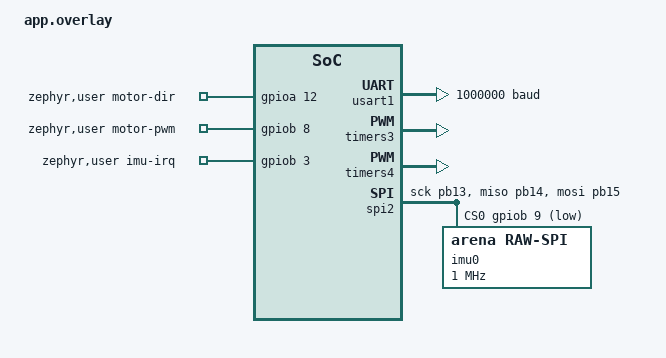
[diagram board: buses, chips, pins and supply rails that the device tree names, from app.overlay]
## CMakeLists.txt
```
cmake_minimum_required(VERSION 3.20.0)
find_package(Zephyr REQUIRED HINTS $ENV{ZEPHYR_BASE})
project(arena_uno_q LANGUAGES C CXX)
if(NOT ARENA_PROFILE_HEADER OR NOT ST_DRIVER_DIR)
  message(FATAL_ERROR "Explicit generated profile and pinned ST driver are required")
endif()
target_sources(app PRIVATE src/main.cpp src/hal.cpp src/imu.cpp "${ST_DRIVER_DIR}/lsm6dsox_reg.c")
target_include_directories(app PRIVATE include ../portable ../firmware_runtime_preview/main "${ST_DRIVER_DIR}")
target_compile_options(app PRIVATE $<$<COMPILE_LANGUAGE:CXX>:-std=c++17>)
target_compile_definitions(app PRIVATE ARENA_PROFILE_HEADER="${ARENA_PROFILE_HEADER}")
```

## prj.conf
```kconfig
CONFIG_CPP=y
CONFIG_STD_CPP17=y
CONFIG_GLIBCXX_LIBCPP=y
CONFIG_PICOLIBC=y
CONFIG_FPU=y
CONFIG_MAIN_STACK_SIZE=32768
CONFIG_SYSTEM_WORKQUEUE_STACK_SIZE=2048
CONFIG_HEAP_MEM_POOL_SIZE=8192
CONFIG_MAIN_THREAD_PRIORITY=3
CONFIG_SERIAL=y
CONFIG_UART_INTERRUPT_DRIVEN=y
CONFIG_UART_USE_RUNTIME_CONFIGURE=y
CONFIG_CONSOLE=n
CONFIG_UART_CONSOLE=n
CONFIG_PRINTK=n
CONFIG_BOOT_BANNER=n
CONFIG_LOG=n
CONFIG_GPIO=y
CONFIG_PINCTRL=y
CONFIG_PWM=y
CONFIG_SPI=y
CONFIG_SPI_STM32_INTERRUPT=y
CONFIG_SENSOR=y
CONFIG_QDEC_STM32=y
CONFIG_ENTROPY_GENERATOR=y
CONFIG_WATCHDOG=y
CONFIG_TEST_RANDOM_GENERATOR=n
CONFIG_FLASH=y
CONFIG_FLASH_LOAD_OFFSET=0
CONFIG_BOOTLOADER_MCUBOOT=n
CONFIG_BUILD_OUTPUT_BIN=y
CONFIG_BUILD_OUTPUT_HEX=y
CONFIG_SYS_CLOCK_TICKS_PER_SEC=10000
CONFIG_TIMESLICING=n
CONFIG_PM=n
CONFIG_ASSERT=y
```

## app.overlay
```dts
/* uno_q_v1.json: 3.3 V direct USART, TIM3 x4, TIM4 20 kHz, SPI2. */
/ {
  chosen {
    /delete-property/ zephyr,console;
    /delete-property/ zephyr,shell-uart;
    /delete-property/ zephyr,code-partition;
    /delete-property/ zephyr,canbus;
  };
  zephyr,user {
    motor-dir-gpios = <&gpioa 12 GPIO_ACTIVE_HIGH>;
    motor-pwm-gpios = <&gpiob 8 GPIO_ACTIVE_HIGH>;
    imu-irq-gpios = <&gpiob 3 GPIO_ACTIVE_HIGH>;
  };
};
&usart1_rx_pb7 { /delete-property/ bias-pull-up; bias-disable; };
&flash0 { /delete-node/ partitions; };
&usart1_tx_pb6 { bias-disable; };
&usart1 { status = "okay"; current-speed = <1000000>; };
&lpuart1 { status = "disabled"; };
&spi3 { status = "disabled"; };
&i2c2 { status = "disabled"; };
&i2c4 { status = "disabled"; };
&adc1 { status = "disabled"; };
&adc4 { status = "disabled"; };
&dac1 { status = "disabled"; };
&fdcan1 { status = "disabled"; };
&usbotg_fs { status = "disabled"; };
&die_temp { status = "disabled"; };
&vref1 { status = "disabled"; };
&vbat4 { status = "disabled"; };
&timers3 {
  status = "okay";
  st,prescaler = <0>;
  pwm { status = "disabled"; };
  qdec3: qdec {
    compatible = "st,stm32-qdec";
    status = "okay";
    pinctrl-0 = <&tim3_ch1_pa6 &tim3_ch2_pa7>;
    pinctrl-names = "default";
    st,encoder-mode = <3>;
    st,input-filter-level = <3>;
    st,counts-per-revolution = <28>;
  };
};
&tim3_ch1_pa6 { bias-disable; };
&tim3_ch2_pa7 { bias-disable; };
&timers4 {
  status = "okay";
  st,prescaler = <0>;
  pwm4: pwm {
    status = "okay";
    pinctrl-0 = <&tim4_ch3_pb8>;
    pinctrl-names = "default";
  };
};
&spi2 {
  status = "okay";
  pinctrl-0 = <&spi2_sck_pb13 &spi2_miso_pb14 &spi2_mosi_pb15>;
  pinctrl-names = "default";
  cs-gpios = <&gpiob 9 GPIO_ACTIVE_LOW>;
  imu0: imu@0 {
    compatible = "arena,raw-spi";
    reg = <0>;
    spi-max-frequency = <1000000>;
  };
};
```

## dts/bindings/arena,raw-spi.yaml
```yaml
description: LSM6DSOX register interface owned by the bounded acquisition thread
compatible: "arena,raw-spi"
include: spi-device.yaml
```

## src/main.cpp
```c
#include "hal.hpp"
#include "profile.hpp"
#include "endpoint.hpp"
#include "external_servo.hpp"
#include "bench.hpp"
#include "encoder.hpp"
#include "runtime_tx.hpp"
#include "md20a_forward_output.hpp"
#include ARENA_PROFILE_HEADER
#include <algorithm>
#include <cstdio>
#include <cstring>
#include <zephyr/kernel.h>

namespace aa=arena_actuation;
static RuntimeTx tx;
static unoq::ExternalServo servo;
static unoq::Bench bench;
static aa::FrameLink input(30000);
static std::uint8_t wire[aa::kMaxFrame],rx[256],observation[1024];
static char json[1000];

int main(){
  if(!unoq::hal_init()){
    unoq::fail_hal();for(;;)k_msleep(10);
  }
  const auto boot=unoq::boot_random();std::uint32_t identity[8];char boot_text[9]{};
  std::snprintf(boot_text,sizeof(boot_text),"%08x",unsigned(boot));
  for(unsigned i=0;i<8;++i)identity[i]=boot_text[i];
  static const auto profile=selected_profile();
  aa::TxConfig tc;tc.offer_status_v1=true;tc.offer_motor_feedback_v1=true;
  tc.offer_period_us=40000;tc.diag_period_us=1000000;tc.max_consecutive_events=2;tc.line_ns_per_byte=10000;
  static unoq::Endpoint endpoint(profile.config(),identity,tc,profile.kp,profile.ki,profile.maximum_duty,profile.installed());
  endpoint.connect(unoq::now_us());input.connect(unoq::now_us());
  unoq::imu_start(boot);
  std::int64_t next_control=0,next_feedback=0,next_report=0,feedback_seq=0,counts=0;
  std::int64_t last_accepted=-2,last_generation=-1,bench_count=0,bench_progress_at=0;
  std::int64_t stationary_since=-1;
  std::int64_t observation_seq=-1,capture_us=0;
  std::uint32_t raw=0,modulus=0;bool was_bench_running=false;
  unoq::EncoderCounter encoder;
  std::uint64_t errors_seen=0;double last_duty=0;
  auto hardware_ready=[&](){return !unoq::hal_failed() && encoder.valid() && endpoint.receiver().fresh_feedback(unoq::now_us());};
  auto runtime_ready=[&](){return profile.installed()&&hardware_ready()&&unoq::imu_ready()&&servo.fresh(unoq::now_us(),endpoint.receiver());};
  auto sink=[](const std::uint8_t* p,std::size_t n){return unoq::uart_write(p,n);};
  auto frame=[&](const std::uint8_t* p,std::size_t n,aa::FrameOrigin origin){
    const auto now=unoq::now_us();const auto old_generation=endpoint.receiver().generation();const bool old_armed=endpoint.receiver().armed();
    if(n>=4 && std::memcmp(p,"ESV1",4)==0){
      if(origin==aa::FrameOrigin::kLive)servo.accept(p,n,now,endpoint.receiver());else servo.invalidate();
    }else if(n>=4 && std::memcmp(p,"BNV1",4)==0){
      const bool stationary=stationary_since>=0 && now-stationary_since>=200000;
      const bool starting=n==44 && p[36]==1;
      if(origin==aa::FrameOrigin::kLive)
        bench.accept(p,n,now,endpoint.receiver(),profile.mode==unoq::Mode::Bench,
                     hardware_ready()&&(!starting||stationary));
      else bench.stop("expired_frame");
    }else{
      const auto bytes=aa::encode_frame(p,n,wire,sizeof(wire));
      for(std::size_t offset=0;offset<bytes;){
        auto size=std::min<std::size_t>(256,bytes-offset);
        endpoint.feed(now,wire+offset,size,runtime_ready());offset+=size;
      }
    }
    servo.transition(old_generation,old_armed,endpoint.receiver());
    if(endpoint.receiver().generation()!=old_generation){bench.stop("session_changed");next_report=0;}
    if(endpoint.receiver().accepted_seq()!=last_accepted)next_report=0;
  };
  for(;;){
    auto now=unoq::now_us();
    if(unoq::guard_tripped()){
      servo.invalidate();
      if(!bench.handle_output_deadline(now,endpoint.receiver(),hardware_ready())){
        bench.stop("deadline_guard");endpoint.fault(now);
      }
      unoq::motor_zero();last_duty=0;
    }
    const auto old_generation=endpoint.receiver().generation();const bool old_armed=endpoint.receiver().armed();
    endpoint.check_deadlines(now,runtime_ready());
    servo.transition(old_generation,old_armed,endpoint.receiver());
    const auto size=unoq::uart_read(rx,sizeof(rx));
    input.feed(now,rx,size,frame);input.poll(now,frame);endpoint.poll(unoq::now_us(),runtime_ready());
    if(input.framing_errors()!=errors_seen){
      errors_seen=input.framing_errors();servo.invalidate();bench.stop("framing_error");unoq::motor_zero();last_duty=0;
    }
    now=unoq::now_us();
    if(now>=next_feedback){
      if(!unoq::encoder_read(raw,modulus))unoq::fail_hal();
      else {
        const int sign=profile.installed()?profile.encoder_direction:1; // bench exposes raw timer sign.
        if(!encoder.sample(raw,modulus,sign))unoq::fail_hal();
        counts=encoder.count();
        if(!endpoint.feedback(now,feedback_seq++,counts)){
          bench.stop("encoder_invalid");unoq::motor_zero();
        }else if(!unoq::hal_failed()){observation_seq=feedback_seq-1;capture_us=now;}
      }
      if(endpoint.receiver().fresh_feedback(now)&&std::fabs(endpoint.receiver().mean_mps())<.03){
        if(stationary_since<0)stationary_since=now;
      }else stationary_since=-1;
      next_feedback=now+profile.feedback_period_us;
    }
    if(now>=next_control){
      const bool ready=runtime_ready();
      auto cycle=endpoint.tick(now,ready,!servo.applied(now,endpoint.receiver()));
      bench.tick(now,endpoint.receiver(),hardware_ready());
      if(bench.running()){
        if(!was_bench_running){bench_count=counts;bench_progress_at=now;}
        if(counts!=bench_count){bench_count=counts;bench_progress_at=now;}
        if(now-bench_progress_at>=300000)bench.stop("encoder_no_progress");
      }
      was_bench_running=bench.running();
      if(unoq::hal_failed()){
        endpoint.fault(now);bench.stop("hal_error");servo.invalidate();unoq::motor_zero();last_duty=0;
      }else if(bench.running()){
        last_duty=bench.duty();unoq::motor_set(last_duty,bench.dir(),std::min(now+50000,bench.deadline()));
      }else if(profile.installed()){
        const auto cmd=aa::md20a_forward_command(cycle,endpoint.receiver(),{profile.maximum_duty,profile.forward_dir_high},ready);
        last_duty=cmd.status==aa::Md20aMapStatus::kActive?cmd.duty_ratio:0.;
        const auto deadline=std::min({now+50000,endpoint.receiver().deadline(),servo.deadline()});
        unoq::motor_set(last_duty,cmd.dir_high,deadline);
      }else {unoq::motor_zero();last_duty=0;}
      if(!unoq::hal_failed() && !unoq::watchdog_progress())unoq::fail_hal();
      next_control=now+5000;
    }
    for(unsigned i=0;i<8;++i){unoq::ImuFrame f;if(!unoq::imu_take(f))break;tx.imu(&f,sizeof(f));}
    const auto& r=endpoint.receiver();
    if(now>=next_report || r.generation()!=last_generation || r.accepted_seq()!=last_accepted){
      const char* mode=profile.mode==unoq::Mode::Bench?"bench":profile.installed()?"installed":"unconfigured";
      const int n=std::snprintf(json,sizeof(json),
        "{\"type\":\"uno_q\",\"v\":1,\"boot\":\"%s\",\"generation\":%lld,\"accepted_seq\":%lld,\"state\":\"%s\",\"reason\":\"%s\","
        "\"bench_state\":\"%s\",\"bench_seq\":%lld,\"bench_reason\":\"%s\",\"mode\":\"%s\",\"profile_sha256\":\"%s\","
        "\"observation_seq\":%lld,\"capture_us\":%lld,\"motor_counts\":%lld,\"raw_count\":%u,"
        "\"pwm_duty_ppm\":%u,\"hal_fault\":%s,\"imu_ready\":%s,\"servo_ready\":%s,\"servo_applied_seq\":%lld,"
        "\"uart_errors\":%u,\"imu_dropped\":%u,\"tx_imu_dropped\":%llu}",
        boot_text,(long long)r.generation(),(long long)r.accepted_seq(),aa::tx_detail::state_name(r.state()),r.reason(),
        bench.running()?"running":bench.armed()?"armed":"disarmed",(long long)bench.sequence(),bench.reason(),mode,selected_profile_sha256,
        (long long)observation_seq,(long long)capture_us,
        (long long)counts,unsigned(raw),unsigned(last_duty*1000000),unoq::hal_failed()?"true":"false",unoq::imu_ready()?"true":"false",
        servo.fresh(now,r)?"true":"false",(long long)servo.applied_seq(),unsigned(unoq::uart_errors()),unsigned(unoq::imu_dropped()),
        (unsigned long long)tx.imu_dropped());
      if(n>0 && std::size_t(n)<sizeof(json)){
        const auto framed=aa::encode_frame(reinterpret_cast<const std::uint8_t*>(json),n,observation,sizeof(observation));
        if(tx.observation(observation,framed)){next_report=now+20000;last_generation=r.generation();last_accepted=r.accepted_seq();}
      }
    }
    if(!tx.pump_bounded(now,endpoint,sink,runtime_ready()))unoq::fail_hal();
    k_usleep(250);
  }
}
```

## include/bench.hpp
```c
#pragma once
#include "external_servo.hpp"
namespace unoq {
class Bench {
 public:
  // BNV1 <4s8sQQQBBHI. 1 ARM, 2 PULSE, 3 STOP, 4 KEEPALIVE.
  bool accept(const std::uint8_t* p,std::size_t n,std::int64_t now,
              const arena_actuation::ActuationReceiverCore& r,bool enabled,bool peripherals_ready) {
    if(n!=44 || std::memcmp(p,"BNV1",4)!=0){stop("malformed");return false;}
    const auto seq=read_u64(p+28);const auto action=p[36];
    if(action==3){stop("explicit_stop");return true;}
    const auto* l=lease(r,read_u64(p+20));
    if(!enabled || !peripherals_ready || !identity(p,r) || !l || now<l->issued_us || now>=l->expires_us ||
       r.state()!=arena_actuation::ReceiverState::kDisarmed ||
       (seen_ && seq<=sequence_) || seq>std::uint64_t(INT64_MAX))return false;
    const unsigned duty=unsigned(p[38])|(unsigned(p[39])<<8);const auto duration=read_u32(p+40);
    if(p[37]>1 || action<1 || action>4 || duty>150 || duration>5000000) {stop("invalid_request");return false;}
    if(action==1){
      if(armed_ || duty!=0 || duration!=0)return false;
      armed_=true;running_=false;reason_="explicit_arm";generation_=r.generation();
    }else if(action==2){
      if(!armed_ || running_ || now>=watchdog_ || duty==0 || duration==0)return false;
      running_=true;stop_at_=now+duration;duty_=duty;dir_=p[37]!=0;reason_="pulse";
    }else if(action==4){
      if(!armed_ || now>=watchdog_ || duty!=0 || duration!=0)return false;
    }
    seen_=true;sequence_=seq;watchdog_=l->expires_us;return true;
  }
  void tick(std::int64_t now,const arena_actuation::ActuationReceiverCore& r,bool ready) {
    if(!armed_)return;
    if(!ready || r.state()!=arena_actuation::ReceiverState::kDisarmed || generation_!=r.generation())stop("not_ready");
    else if(now>=watchdog_)stop("host_expired");
    else if(running_ && now>=stop_at_)stop("duration_complete");
  }
  void stop(const char* reason){armed_=running_=false;duty_=0;reason_=reason;}
  // The 1 ms output guard can beat the 5 ms main tick at a normal pulse end.
  // A control-gap guard before the bench's own deadline is still a fault.
  bool handle_output_deadline(std::int64_t now,const arena_actuation::ActuationReceiverCore& r,bool ready){
    if(!running_ || now<deadline())return false;
    tick(now,r,ready);return true;
  }
  bool armed()const{return armed_;} bool running()const{return running_;}
  double duty()const{return running_?duty_/1000.0:0.;} bool dir()const{return dir_;}
  const char* reason()const{return reason_;}
  std::int64_t sequence()const{return seen_?static_cast<std::int64_t>(sequence_):-1;}
  std::int64_t stop_at()const{return stop_at_;}
  std::int64_t deadline()const{return running_ && stop_at_<watchdog_?stop_at_:watchdog_;}
 private:
  bool seen_=false,armed_=false,running_=false,dir_=false;
  std::uint64_t sequence_=0;unsigned duty_=0;
  std::int64_t watchdog_=0,stop_at_=0,generation_=-1;
  const char* reason_="disarmed";
};
}
```

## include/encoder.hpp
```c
#pragma once
#include <cstdint>
namespace unoq {
class EncoderCounter {
 public:
  bool sample(std::uint32_t raw,std::uint32_t modulus,int sign) {
    if(modulus!=65520 || raw>=modulus || (sign!=1 && sign!=-1))return false;
    if(valid_){
      std::int64_t delta=std::int64_t(raw)-previous_;
      if(delta>std::int64_t(modulus/2))delta-=modulus;
      if(delta< -std::int64_t(modulus/2))delta+=modulus;
      delta*=sign;
      if((delta>0 && count_>INT64_MAX-delta)||(delta<0 && count_<INT64_MIN-delta))return false;
      count_+=delta;
    }
    previous_=raw;valid_=true;return true;
  }
  bool valid()const{return valid_;}
  std::int64_t count()const{return count_;}
 private:
  bool valid_=false;std::uint32_t previous_=0;std::int64_t count_=0;
};
}
```

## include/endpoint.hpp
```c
#pragma once
#include "actuation_tx.hpp"
#include "motor_control_candidate.hpp"
namespace unoq {
// 기존 IA receiver/ingress/TX/PI를 그대로 소유. 미교정/bench에서는 PI를 호출하지 않는다.
class Endpoint {
 public:
  Endpoint(const arena_actuation::ReceiverConfig& cfg,const std::uint32_t* boot,
           const arena_actuation::TxConfig& tx,double kp,double ki,double duty,bool installed)
    : r_(cfg,boot,8),ingress_(r_,30000,arena_actuation::PayloadLayout::kEnvelope),
      tx_(tx,r_),cycle_(r_,kp,ki,.05,0.,duty),installed_(installed){}
  void connect(std::int64_t now){ingress_.connect(now);sync(now,false);}
  void feed(std::int64_t now,const std::uint8_t* p,std::size_t n,bool ready){
    ingress_.feed(now,p,n,[&](const arena_actuation::IngressDelivery& d,const arena_actuation::Command& c){tx_.on_delivery(d,c,now);},ready&&installed_);
    sync(now,ready);
  }
  void poll(std::int64_t now,bool ready){
    ingress_.poll(now,[&](const arena_actuation::IngressDelivery& d,const arena_actuation::Command& c){tx_.on_delivery(d,c,now);},ready&&installed_);sync(now,ready);
  }
  void check_deadlines(std::int64_t now,bool ready){
    r_.check_deadlines(now);if(r_.armed()&&!ready)r_.report_control_fault(arena_actuation::ControlFault::kOutputUnavailable,now);sync(now,ready);
  }
  void fault(std::int64_t now){r_.report_control_fault(arena_actuation::ControlFault::kOutputUnavailable,now);sync(now,false);}
  bool feedback(std::int64_t now,std::int64_t seq,std::int64_t count){
    using I=arena_actuation::IntInput;return r_.update_motor_encoder(now,I::of(seq),I::of(now),I::of(count));
  }
  arena_actuation::MotorCyclePreview tick(std::int64_t now,bool ready,bool inhibit){
    if(installed_)return cycle_.tick(now,ready,inhibit);
    r_.tick(now);return {};
  }
  template<class Sink> auto pump(std::int64_t now,Sink&& sink,bool ready){
    sync(now,ready);auto result=tx_.pump(now,sink);
    if(tx_.fault()!=arena_actuation::TxFault::kNone)fault(now);
    return result;
  }
  const arena_actuation::ActuationReceiverCore& receiver()const{return r_;}
  const arena_actuation::ActuationTxScheduler& tx()const{return tx_;}
 private:
  void sync(std::int64_t now,bool ready){
    if(ingress_.link().session_breaks()!=breaks_){breaks_=ingress_.link().session_breaks();tx_.on_session_break(now);}
    tx_.set_link_up(ingress_.link().state()==arena_actuation::LinkState::kConnected);
    tx_.set_output_ready(ready&&installed_&&ingress_.fault()==arena_actuation::IngressFault::kNone&&tx_.fault()==arena_actuation::TxFault::kNone);tx_.observe(now);
  }
  arena_actuation::ActuationReceiverCore r_;
  arena_actuation::ActuationIngress ingress_;
  arena_actuation::ActuationTxScheduler tx_;
  arena_actuation::MotorControlCandidate cycle_;
  bool installed_;std::uint64_t breaks_=0;
};
}
```

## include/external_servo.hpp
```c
#pragma once
#include "actuation_receiver.hpp"
#include <cstring>
namespace unoq {
inline std::uint64_t read_u64(const std::uint8_t* p) {
  std::uint64_t out=0; for(unsigned i=0;i<8;++i)out|=std::uint64_t(p[i])<<(8*i);return out;
}
inline std::uint32_t read_u32(const std::uint8_t* p) {
  std::uint32_t out=0; for(unsigned i=0;i<4;++i)out|=std::uint32_t(p[i])<<(8*i);return out;
}
inline bool identity(const std::uint8_t* p,const arena_actuation::ActuationReceiverCore& r) {
  if(r.boot().length!=8 || read_u64(p+12)!=std::uint64_t(r.generation()))return false;
  for(unsigned i=0;i<8;++i)if(p[4+i]!=r.boot().code_points[i])return false;
  return true;
}
inline const arena_actuation::Lease* lease(const arena_actuation::ActuationReceiverCore& r,std::uint64_t id) {
  for(std::size_t i=0;i<r.lease_count();++i)
    if(id==std::uint64_t(r.lease_at(i).id))return &r.lease_at(i);
  return nullptr;
}
class ExternalServo {
 public:
  // ESV1 <4s8sQQQIBq; sequence is monotonic for the whole MCU boot.
  bool accept(const std::uint8_t* p,std::size_t n,std::int64_t now,
              const arena_actuation::ActuationReceiverCore& r) {
    if(n!=49 || std::memcmp(p,"ESV1",4)!=0 || p[40]>1 || now<0) {
      invalidate();++malformed;return false;
    }
    const auto seq=read_u64(p+28);const auto age=read_u32(p+36);
    const auto* l=lease(r,read_u64(p+20));
    if(!identity(p,r) || !l || now<l->issued_us || now>=l->expires_us ||
       (seen_ && seq<=seq_) || age>=100000 || seq>std::uint64_t(INT64_MAX)) {
      ++rejected;return false; // stale false cannot invalidate a newer true, nor refresh it.
    }
    const auto bound=l->issued_us+100000-std::int64_t(age);
    const auto expiry=bound<l->expires_us?bound:l->expires_us;
    if(now>=expiry){++rejected;return false;}
    const auto applied=read_u64(p+41);
    if(applied>std::uint64_t(INT64_MAX) && applied!=UINT64_MAX){invalidate();++malformed;return false;}
    seen_=true;seq_=seq;generation_=r.generation();deadline_=expiry;
    ready_=p[40]==1;applied_=applied==UINT64_MAX?-1:static_cast<std::int64_t>(applied);
    ++accepted;return true;
  }
  void transition(std::int64_t old_generation,bool old_armed,
                  const arena_actuation::ActuationReceiverCore& r) {
    if(old_generation==r.generation())return;
    // Only the actual explicit ARM transition can carry pre-ARM evidence.
    const bool arm=!old_armed && r.armed() && r.generation()==old_generation+1 &&
      std::strcmp(r.reason(),"explicit_arm")==0 && generation_==old_generation;
    if(arm)generation_=r.generation();else invalidate();
  }
  bool fresh(std::int64_t now,const arena_actuation::ActuationReceiverCore& r) const {
    return ready_ && now>=0 && now<deadline_ && generation_==r.generation();
  }
  bool applied(std::int64_t now,const arena_actuation::ActuationReceiverCore& r)const {
    return fresh(now,r) && r.has_owner() && r.drive_seen() && applied_==r.accepted_seq();
  }
  void invalidate(){ready_=false;deadline_=0;applied_=-1;generation_=-1;}
  std::int64_t deadline()const{return deadline_;}
  std::int64_t applied_seq()const{return applied_;}
  std::uint64_t accepted=0,rejected=0,malformed=0;
 private:
  bool seen_=false,ready_=false;
  std::uint64_t seq_=0;
  std::int64_t generation_=-1,deadline_=0,applied_=-1;
};
}
```

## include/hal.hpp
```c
#pragma once
#include <cstddef>
#include <cstdint>
namespace unoq {
std::int64_t now_us();
bool hal_init();
bool uart_start();
std::size_t uart_read(std::uint8_t*,std::size_t);
std::size_t uart_write(const std::uint8_t*,std::size_t);
bool hal_failed();
void fail_hal();
bool motor_set(double duty,bool dir,std::int64_t absolute_deadline);
void motor_zero();
bool guard_tripped();
bool encoder_read(std::uint32_t& count,std::uint32_t& modulus);
std::uint32_t boot_random();
std::uint32_t uart_errors();
bool watchdog_progress();
struct __attribute__((packed)) ImuFrame {
  std::uint32_t magic; std::uint16_t length; std::uint8_t version,type;
  std::uint32_t boot,sequence; std::uint64_t begin_us,end_us;
  std::uint32_t irq_count; std::uint16_t fifo_level; std::uint8_t fifo_status,tag;
  std::uint8_t payload[16]; std::uint32_t spi_errors,tx_errors,crc32;
};
static_assert(sizeof(ImuFrame)==68);
void imu_start(std::uint32_t boot);
bool imu_ready();
bool imu_take(ImuFrame& frame);
std::uint32_t imu_dropped();
}
```

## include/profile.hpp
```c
#pragma once
#include "actuation_receiver.hpp"
namespace unoq {
enum class Mode { Unconfigured, Bench, Installed };
struct Profile {
  Mode mode=Mode::Unconfigured;
  int encoder_direction=0;
  bool motor_direction_confirmed=false, forward_dir_high=false;
  double maximum_duty=0, kp=0, ki=0, maximum_speed_mps=0;
  double maximum_steering_rad=0.28475436568260193;
  std::int64_t feedback_period_us=20000;
  bool installed() const {
    return mode==Mode::Installed && motor_direction_confirmed &&
      (encoder_direction==1 || encoder_direction==-1) &&
      std::isfinite(maximum_duty) && maximum_duty>0 && maximum_duty<=1 &&
      std::isfinite(kp) && kp>0 && std::isfinite(ki) && ki>0 &&
      std::isfinite(maximum_speed_mps) && maximum_speed_mps>0 && maximum_speed_mps<=13./3.6 &&
      maximum_steering_rad>0 && maximum_steering_rad<=0.28475436568260193 &&
      feedback_period_us>=5000 && feedback_period_us<50000;
  }
  arena_actuation::ReceiverConfig config() const {
    arena_actuation::ReceiverConfig c;
    c.feedback_mode=arena_actuation::FeedbackMode::kMotorShaft;
    c.ticks_per_rev=28; c.gear_ratio=2.5*81./17.; c.wheel_radius_m=.0325;
    c.max_steering_rad=maximum_steering_rad;
    c.max_speed_mps=installed()?maximum_speed_mps:13./3.6;
    c.max_wheel_mps=13./3.6;
    return c;
  }
};
}
```

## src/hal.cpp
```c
#include "hal.hpp"
#include <cmath>
#include <zephyr/kernel.h>
#include <zephyr/device.h>
#include <zephyr/drivers/gpio.h>
#include <zephyr/drivers/uart.h>
#include <zephyr/drivers/pwm.h>
#include <zephyr/drivers/pinctrl.h>
#include <zephyr/drivers/sensor.h>
#include <zephyr/drivers/entropy.h>
#include <zephyr/drivers/watchdog.h>
#include <zephyr/sys/ring_buffer.h>
#include <zephyr/sys/atomic.h>
#include <stm32_ll_tim.h>
#include <stm32_ll_gpio.h>
namespace unoq {
static const device* const uart=DEVICE_DT_GET(DT_NODELABEL(usart1));
static const device* const pwm=DEVICE_DT_GET(DT_NODELABEL(pwm4));
static const device* const qdec=DEVICE_DT_GET(DT_NODELABEL(qdec3));
static const device* const entropy=DEVICE_DT_GET(DT_NODELABEL(rng));
static const device* const wdt=DEVICE_DT_GET(DT_NODELABEL(iwdg));
static int wdt_channel=-1;
static const gpio_dt_spec direction=GPIO_DT_SPEC_GET(DT_PATH(zephyr_user),motor_dir_gpios);
static const gpio_dt_spec pwm_gpio=GPIO_DT_SPEC_GET(DT_PATH(zephyr_user),motor_pwm_gpios);
RING_BUF_DECLARE(rx_ring,4096);
RING_BUF_DECLARE(tx_ring,2048);
static atomic_t failed,trip,uart_error_count;
static std::int64_t output_deadline=0;
std::int64_t now_us(){return static_cast<std::int64_t>(k_ticks_to_us_floor64(k_uptime_ticks()));}
static void force_low(){
  LL_TIM_CC_DisableChannel(TIM4,LL_TIM_CHANNEL_CH3);
  LL_GPIO_ResetOutputPin(GPIOB,LL_GPIO_PIN_8);
  LL_GPIO_SetPinMode(GPIOB,LL_GPIO_PIN_8,LL_GPIO_MODE_OUTPUT);
  output_deadline=0;
}
static void deadline_guard(k_timer*){
  if(output_deadline && now_us()>=output_deadline){atomic_set(&trip,1);force_low();}
}
K_TIMER_DEFINE(guard_timer,deadline_guard,nullptr);
void fail_hal(){unsigned key=irq_lock();atomic_set(&failed,1);force_low();irq_unlock(key);}
bool hal_failed(){return atomic_get(&failed)!=0;}
bool guard_tripped(){return atomic_cas(&trip,1,0);}
void motor_zero(){unsigned key=irq_lock();force_low();irq_unlock(key);}
bool motor_set(double duty,bool dir,std::int64_t deadline){
  if(!std::isfinite(duty) || duty<0 || duty>1){fail_hal();return false;}
  if(duty==0){motor_zero();return !hal_failed();}
  unsigned key=irq_lock();
  bool ok=!hal_failed() && !atomic_get(&trip) && deadline>now_us();
  if(ok)ok=gpio_pin_set_dt(&direction,dir?1:0)==0;
  if(ok){
    // Fixed verified board mapping: PB8 AF2 = TIM4_CH3, never PB9/IMU CS.
    LL_GPIO_SetAFPin_8_15(GPIOB,LL_GPIO_PIN_8,LL_GPIO_AF_2);
    LL_GPIO_SetPinMode(GPIOB,LL_GPIO_PIN_8,LL_GPIO_MODE_ALTERNATE);
  }
  if(ok)ok=pwm_set(pwm,3,50000,static_cast<std::uint32_t>(duty*50000),0)==0;
  if(ok)output_deadline=deadline;
  else {atomic_set(&failed,1);force_low();}
  irq_unlock(key);return ok;
}
static void uart_irq(const device* dev,void*){
  if(!uart_irq_update(dev))return;
  if(uart_err_check(dev)!=0){atomic_inc(&uart_error_count);fail_hal();}
  std::uint8_t bytes[32];
  while(uart_irq_rx_ready(dev)){
    int n=uart_fifo_read(dev,bytes,sizeof(bytes));if(n<=0)break;
    if(ring_buf_put(&rx_ring,bytes,n)!=static_cast<std::uint32_t>(n)){
      atomic_inc(&uart_error_count);fail_hal();
    }
  }
  if(uart_irq_tx_ready(dev)){
    std::uint8_t* data=nullptr;const auto count=ring_buf_get_claim(&tx_ring,&data,32);
    if(count){int n=uart_fifo_fill(dev,data,count);ring_buf_get_finish(&tx_ring,n>0?n:0);if(n<0)fail_hal();}
    else uart_irq_tx_disable(dev);
  }
}
bool uart_start(){
  if(!device_is_ready(uart))return false;
  uart_config config{1000000,UART_CFG_PARITY_NONE,UART_CFG_STOP_BITS_1,UART_CFG_DATA_BITS_8,UART_CFG_FLOW_CTRL_NONE};
  if(uart_configure(uart,&config)!=0)return false;
  if(uart_irq_callback_user_data_set(uart,uart_irq,nullptr)!=0)return false;
  uart_irq_rx_enable(uart);uart_irq_err_enable(uart);return true;
}
std::size_t uart_read(std::uint8_t* p,std::size_t n){unsigned key=irq_lock();auto got=ring_buf_get(&rx_ring,p,n);irq_unlock(key);return got;}
std::size_t uart_write(const std::uint8_t* p,std::size_t n){
  unsigned key=irq_lock();const auto sent=ring_buf_put(&tx_ring,p,n);
  if(sent)uart_irq_tx_enable(uart);
  irq_unlock(key);return sent;
}
std::uint32_t uart_errors(){return atomic_get(&uart_error_count);}
bool hal_init(){
  if(!gpio_is_ready_dt(&direction)||!gpio_is_ready_dt(&pwm_gpio))return false;
  if(gpio_pin_configure_dt(&pwm_gpio,GPIO_OUTPUT_INACTIVE)!=0 ||
     gpio_pin_configure_dt(&direction,GPIO_OUTPUT_INACTIVE)!=0)return false;
  motor_zero();
  if(!device_is_ready(pwm)||!device_is_ready(qdec)||!device_is_ready(entropy)||!device_is_ready(wdt))return false;
  wdt_timeout_cfg timeout{};timeout.window.max=200;timeout.flags=WDT_FLAG_RESET_SOC;
  wdt_channel=wdt_install_timeout(wdt,&timeout);
  if(wdt_channel<0 || wdt_setup(wdt,0)!=0)return false;
  k_timer_start(&guard_timer,K_MSEC(1),K_MSEC(1));return uart_start();
}
bool watchdog_progress(){return wdt_channel>=0 && wdt_feed(wdt,wdt_channel)==0;}
bool encoder_read(std::uint32_t& count,std::uint32_t& modulus){
  sensor_value value{};
  if(sensor_sample_fetch_chan(qdec,SENSOR_CHAN_ENCODER_COUNT)!=0 ||
     sensor_channel_get(qdec,SENSOR_CHAN_ENCODER_COUNT,&value)!=0)return false;
  count=value.val1;modulus=LL_TIM_GetAutoReload(TIM3)+1;
  return modulus==65520 && count<modulus;
}
std::uint32_t boot_random(){std::uint32_t out=0;if(entropy_get_entropy(entropy,reinterpret_cast<std::uint8_t*>(&out),sizeof(out))!=0)fail_hal();return out;}
}
extern "C" void k_sys_fatal_error_handler(unsigned int,const struct arch_esf*) {
  unoq::fail_hal();for(;;){k_cpu_idle();}
}
```

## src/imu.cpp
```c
#include "hal.hpp"
#include "actuation_wire.hpp"
#include "lsm6dsox_reg.h"
#include <cstring>
#include <zephyr/kernel.h>
#include <zephyr/drivers/spi.h>
#include <zephyr/drivers/gpio.h>
#include <zephyr/sys/atomic.h>
namespace unoq {
static const spi_dt_spec spi=SPI_DT_SPEC_GET(DT_NODELABEL(imu0),SPI_OP_MODE_MASTER|SPI_WORD_SET(8)|SPI_MODE_CPOL|SPI_MODE_CPHA,0);
static const gpio_dt_spec irq=GPIO_DT_SPEC_GET(DT_PATH(zephyr_user),imu_irq_gpios);
static gpio_callback callback;
K_MSGQ_DEFINE(imu_queue,sizeof(ImuFrame),128,4);
K_THREAD_STACK_DEFINE(imu_stack,4096);
static k_thread imu_thread;
static atomic_t ready,irq_count,tx_dropped;
static std::int64_t progress=0;
static std::uint32_t boot_id,sequence,spi_errors,gyro_count,accel_count,overruns;
static std::uint8_t who;
static stmdev_ctx_t ctx;
static std::int32_t bus_read(void*,std::uint8_t reg,std::uint8_t* out,std::uint16_t n){
  if(n>64){++spi_errors;return -1;}
  std::uint8_t tx[65]{},rx[65]{};tx[0]=reg|0x80;
  spi_buf tb{tx,std::size_t(n+1)},rb{rx,std::size_t(n+1)};
  spi_buf_set ts{&tb,1},rs{&rb,1};
  if(spi_transceive_dt(&spi,&ts,&rs)!=0){++spi_errors;return -1;}
  std::memcpy(out,rx+1,n);return 0;
}
static std::int32_t bus_write(void*,std::uint8_t reg,const std::uint8_t* data,std::uint16_t n){
  if(n>64){++spi_errors;return -1;}
  std::uint8_t tx[65]{};tx[0]=reg&0x7f;std::memcpy(tx+1,data,n);
  spi_buf tb{tx,std::size_t(n+1)};spi_buf_set ts{&tb,1};
  if(spi_write_dt(&spi,&ts)!=0){++spi_errors;return -1;}return 0;
}
static void on_irq(const device*,gpio_callback*,gpio_port_pins_t){atomic_inc(&irq_count);}
static void emit(ImuFrame& f){
  f.magic=0x31554d49;f.length=sizeof(f);f.version=1;f.boot=boot_id;f.sequence=sequence++;
  f.irq_count=atomic_get(&irq_count);f.spi_errors=spi_errors;f.tx_errors=atomic_get(&tx_dropped);
  f.crc32=arena_actuation::crc32(reinterpret_cast<const std::uint8_t*>(&f),offsetof(ImuFrame,crc32));
  if(k_msgq_put(&imu_queue,&f,K_NO_WAIT)!=0)atomic_inc(&tx_dropped);
}
static bool configure(){
#define CHECK(x) do {if((x)!=0)return false;}while(false)
  CHECK(lsm6dsox_reset_set(&ctx,1));std::uint8_t reset=1;
  for(int i=0;i<100 && reset;++i){k_msleep(2);CHECK(lsm6dsox_reset_get(&ctx,&reset));}
  if(reset)return false;
  CHECK(lsm6dsox_block_data_update_set(&ctx,1));
  CHECK(lsm6dsox_auto_increment_set(&ctx,1));
  CHECK(lsm6dsox_xl_full_scale_set(&ctx,LSM6DSOX_8g));
  CHECK(lsm6dsox_gy_full_scale_set(&ctx,LSM6DSOX_500dps));
  CHECK(lsm6dsox_xl_power_mode_set(&ctx,LSM6DSOX_HIGH_PERFORMANCE_MD));
  CHECK(lsm6dsox_gy_power_mode_set(&ctx,LSM6DSOX_GY_HIGH_PERFORMANCE));
  CHECK(lsm6dsox_timestamp_set(&ctx,1));
  CHECK(lsm6dsox_compression_algo_set(&ctx,LSM6DSOX_CMP_DISABLE));
  CHECK(lsm6dsox_fifo_watermark_set(&ctx,8));
  CHECK(lsm6dsox_fifo_xl_batch_set(&ctx,LSM6DSOX_XL_BATCHED_AT_208Hz));
  CHECK(lsm6dsox_fifo_gy_batch_set(&ctx,LSM6DSOX_GY_BATCHED_AT_208Hz));
  CHECK(lsm6dsox_fifo_timestamp_decimation_set(&ctx,LSM6DSOX_DEC_1));
  lsm6dsox_pin_int1_route_t route{};route.fifo_th=1;
  CHECK(lsm6dsox_pin_int1_route_set(&ctx,route));
  CHECK(lsm6dsox_fifo_mode_set(&ctx,LSM6DSOX_BYPASS_MODE));
  CHECK(lsm6dsox_xl_data_rate_set(&ctx,LSM6DSOX_XL_ODR_208Hz));
  CHECK(lsm6dsox_gy_data_rate_set(&ctx,LSM6DSOX_GY_ODR_208Hz));
  k_msleep(100);CHECK(lsm6dsox_fifo_mode_set(&ctx,LSM6DSOX_STREAM_MODE));return true;
#undef CHECK
}
static void report(){
  ImuFrame f{};f.type=3;f.tag=who;f.begin_us=now_us();
  // Old ESP32-only flash/PSRAM fields are zero, not invented measurements.
  f.end_us=now_us();emit(f);
  for(std::uint8_t base:{0x07,0x17,0x56}){
    f={};f.type=4;f.tag=base;f.begin_us=now_us();
    if(bus_read(nullptr,base,f.payload,16))return;
    f.end_us=now_us();emit(f);
  }
  f={};f.type=2;f.begin_us=now_us();std::uint32_t ts=0;std::int16_t temp=0;
  if(lsm6dsox_timestamp_raw_get(&ctx,&ts)||lsm6dsox_temperature_raw_get(&ctx,&temp))return;
  std::memcpy(f.payload,&ts,4);std::memcpy(f.payload+4,&gyro_count,4);
  std::memcpy(f.payload+8,&accel_count,4);std::memcpy(f.payload+12,&temp,2);f.payload[14]=1;
  f.end_us=now_us();emit(f);f={};f.type=5;f.begin_us=now_us();
  std::memcpy(f.payload,&overruns,4);f.end_us=now_us();emit(f);
}
static void work(void*,void*,void*){
  ctx.write_reg=bus_write;ctx.read_reg=bus_read;
  if(!spi_is_ready_dt(&spi)||!gpio_is_ready_dt(&irq))return;
  if(gpio_pin_configure_dt(&irq,GPIO_INPUT)!=0)return;
  gpio_init_callback(&callback,on_irq,BIT(irq.pin));
  if(gpio_add_callback(irq.port,&callback)!=0 || gpio_pin_interrupt_configure_dt(&irq,GPIO_INT_EDGE_RISING)!=0)return;
  if(lsm6dsox_device_id_get(&ctx,&who)||who!=LSM6DSOX_ID||!configure())return;
  std::int64_t next_report=0,last_gyro=-1,last_accel=-1;
  for(;;){
    std::uint8_t status[2]{};
    if(bus_read(nullptr,LSM6DSOX_FIFO_STATUS1,status,2))break;
    unsigned count=status[0]|((status[1]&3)<<8);
    if(status[1]&0x40){++overruns;report();break;} // FIFO loss requires explicit recovery; no silent healthy state.
    const unsigned batch=count>8?8:count;
    for(unsigned i=0;i<batch;++i){
      ImuFrame f{};f.type=1;f.begin_us=now_us();f.fifo_level=count-i;f.fifo_status=status[1];
      std::uint8_t raw[7];if(bus_read(nullptr,LSM6DSOX_FIFO_DATA_OUT_TAG,raw,7))break;
      f.end_us=now_us();f.tag=raw[0];std::memcpy(f.payload,raw+1,6);
      if((raw[0]>>3)==LSM6DSOX_GYRO_NC_TAG){++gyro_count;last_gyro=f.end_us;}
      else if((raw[0]>>3)==LSM6DSOX_XL_NC_TAG){++accel_count;last_accel=f.end_us;}
      emit(f);
    }
    if(spi_errors)break;
    unsigned key=irq_lock();progress=now_us();
    atomic_set(&ready,last_gyro>=0 && last_accel>=0 && progress-last_gyro<50000 && progress-last_accel<50000);irq_unlock(key);
    if(now_us()>=next_report){report();next_report=now_us()+1000000;}
    k_msleep(1);
  }
  atomic_clear(&ready);
}
void imu_start(std::uint32_t boot){boot_id=boot;k_thread_create(&imu_thread,imu_stack,K_THREAD_STACK_SIZEOF(imu_stack),work,nullptr,nullptr,nullptr,6,0,K_NO_WAIT);}
bool imu_ready(){unsigned key=irq_lock();const bool ok=atomic_get(&ready) && now_us()-progress<50000;irq_unlock(key);return ok;}
bool imu_take(ImuFrame& f){return k_msgq_get(&imu_queue,&f,K_NO_WAIT)==0;}
std::uint32_t imu_dropped(){return atomic_get(&tx_dropped);}
}
```
